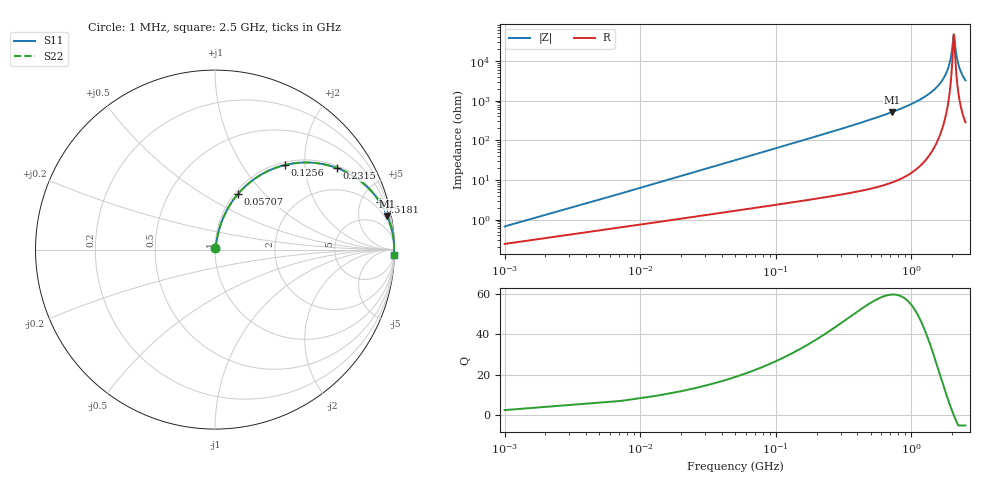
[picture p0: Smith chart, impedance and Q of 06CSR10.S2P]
! Coilcraft 0603CS-R10 Chip Inductor
! 21 May 2002
# MHZ S MA R 50
!Freq  MagS11  AngS11  MagS21  AngS21  MagS12  AngS12  MagS22  AngS22
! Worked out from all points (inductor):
!   403 points, 1 MHz to 2.5 GHz, reference 50 ohm
!   read as one part in series: L = 100 nH near 13.46 MHz
!   highest Q = 59.5 at 717.5 MHz (marker M1), where L = 114 nH
!   self-resonance near 2.051 GHz
!   S11 on the Smith chart (normalised r, x): 1 MHz: 1.00, +0.01; 57.07 MHz: 1.04, +0.72; 125.6 MHz: 1.05, +1.58; 231.5 MHz: 1.07, +2.95; 518.1 MHz: 1.12, +6.95; 2.5 GHz: 7, -65
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1  0.006724 68.4  0.9975 -0.4  0.9975 -0.4  0.006724 68.4
19.69  0.122 78.2  0.9823 -7.0  0.9823 -7.0  0.122 78.2
32.15  0.196 74.9  0.9678 -11.3  0.9678 -11.3  0.196 74.9
57.07  0.3329 67.7  0.9266 -19.4  0.9266 -19.4  0.3329 67.7
125.6  0.6113 50.4  0.7712 -37.7  0.7712 -37.7  0.6113 50.4
231.51  0.8181 33.7  0.5551 -54.9  0.5551 -54.9  0.8181 33.7
418.41  0.9338 19.9  0.3404 -69.0  0.3404 -69.0  0.9338 19.9
518.09  0.9565 16.0  0.2751 -73.0  0.2751 -73.0  0.9565 16.0
717.45  0.9785 11.0  0.1906 -78.1  0.1906 -78.1  0.9785 11.0
835.82  0.985 9.0  0.1565 -80.0  0.1565 -80.0  0.985 9.0
1253.23  0.995 4.6  0.07936 -84.1  0.07936 -84.1  0.995 4.6
1670.64  0.9976 1.8  0.03227 -84.9  0.03227 -84.9  0.9976 1.8
1813.93  0.9979 1.1  0.01943 -83.2  0.01943 -83.2  0.9979 1.1
1913.61  0.9979 0.6  0.0112 -79.1  0.0112 -79.1  0.9979 0.6
1975.91  0.9979 0.3  0.006405 -70.9  0.006405 -70.9  0.9979 0.3
2050.67  0.9979 0.0  0.002152 -8.7  0.002152 -8.7  0.9979 0.0
2063.13  0.9979 -0.0  0.002225 15.9  0.002225 15.9  0.9979 -0.0
2088.05  0.9978 -0.1  0.003281 48.6  0.003281 48.6  0.9978 -0.1
2144.12  0.9978 -0.4  0.006927 70.9  0.006927 70.9  0.9978 -0.4
2225.11  0.9976 -0.7  0.01251 78.6  0.01251 78.6  0.9976 -0.7
2343.48  0.9973 -1.2  0.02049 81.9  0.02049 81.9  0.9973 -1.2
2500  0.9969 -1.7  0.03056 83.2  0.03056 83.2  0.9969 -1.7
